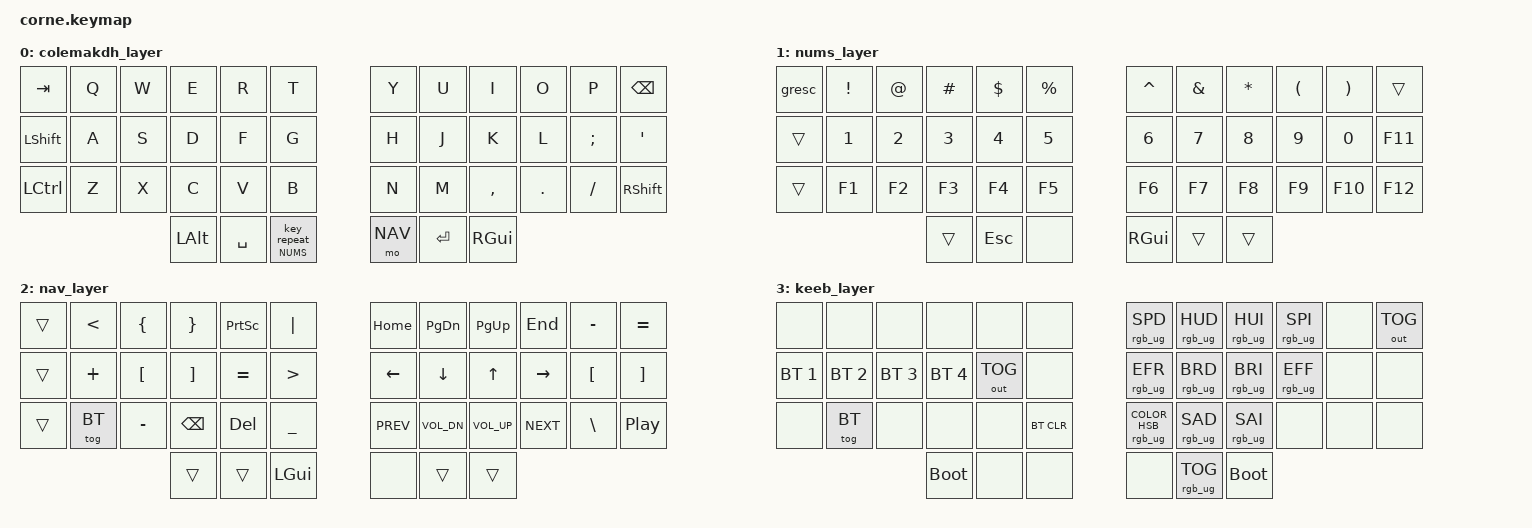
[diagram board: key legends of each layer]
/*
 * Copyright (c) 2020 The ZMK Contributors
 *
 * SPDX-License-Identifier: MIT
 */

#include <behaviors.dtsi>
#include <dt-bindings/zmk/keys.h>
#include <dt-bindings/zmk/bt.h>
#include <dt-bindings/zmk/rgb.h>
#include <dt-bindings/zmk/outputs.h>

// Layers
#define BASE 0
#define NUMS 1
#define NAV 2
#define BT 3

// TAP_DANCE settings
#define TAP_DANCE_MS 200
#define HOLD_TAP_MS 200
// This makes combos explicit, helps prevent rolling when typing normally
#define COMBO_TIMEOUT_MS 20
#define PRIOR_IDLE_MS 80

// MACROS to make the the code easier to read
// include name or reference in keymap
// Format:
//      name        reference             keys, key2
//
// Tap Dances
#define TD_SHLOCK   &shl               // RSHIFT CAPSLOCK

&led_strip {
    chain-length = <27>;
};

/ {
  behaviors{
    shl: tap_dance_shift_lock {
      compatible = "zmk,behavior-tap-dance";
      #binding-cells = <0>;
      tapping-term-ms = <TAP_DANCE_MS>;
      bindings = <&kp RSHIFT>, <&kp CAPSLOCK>;
    };

    hlkr: hold_layer_key_repeat {
      compatible = "zmk,behavior-hold-tap";
      #binding-cells = <2>;
      flavor = "hold-preferred";
      tapping-term-ms = <HOLD_TAP_MS>;
      require-prior-idle-ms = <PRIOR_IDLE_MS>;
      bindings = <&mo>, <&key_repeat>;
    };

    gresc: grave_escape {
      compatible = "zmk,behavior-mod-morph";
      #binding-cells = <0>;
      bindings = <&kp GRAVE>, <&kp ESC>;
      mods = <(MOD_RGUI|MOD_RSFT)>;
    };
  };

  macros {
    enter_esc: enter_esc {
      compatible = "zmk,behavior-macro";
      #binding-cells = <0>;
      // 30ms+ to avoid having HID notifications grouped at the BLE protocol level and being processed out of order.
      wait-ms = <40>;
      tap-ms = <40>;
      bindings = <&kp ENTER &kp ESC>;
    };
  };

  combos {
    compatible = "zmk,combos";

    // This is annoying for gaming so lets not use them lol
    // rs_enter {
    //   timeout-ms = <COMBO_TIMEOUT_MS>;
    //   key-positions = <14 15>; // R S
    //   bindings = <&kp ENTER>;
    //   require-prior-idle-ms = <PRIOR_IDLE_MS>;
    // };

    // st_esc {
    //   timeout-ms = <COMBO_TIMEOUT_MS>;
    //   key-positions = <15 16>; // S T
    //   bindings = <&kp ESC>;
    //   require-prior-idle-ms = <PRIOR_IDLE_MS>;
    // };

    fp_esc {
      timeout-ms = <COMBO_TIMEOUT_MS>;
      key-positions = <3 4>; // F P
      bindings = <&kp LG(P)>;
      require-prior-idle-ms = <PRIOR_IDLE_MS>;
    };

    ei_enter {
      timeout-ms = <COMBO_TIMEOUT_MS>;
      key-positions = <20 21>; // E I
      bindings = <&kp ENTER>;
      require-prior-idle-ms = <PRIOR_IDLE_MS>;
    };

    ne_esc {
      timeout-ms = <COMBO_TIMEOUT_MS>;
      key-positions = <19 20>; // N E
      bindings = <&kp ESC>;
      require-prior-idle-ms = <PRIOR_IDLE_MS>;
    };

    nei_enter_esc {
      timeout-ms = <COMBO_TIMEOUT_MS>;
      key-positions = <19 20 21>; // N E I
      bindings = <&enter_esc>;
      require-prior-idle-ms = <PRIOR_IDLE_MS>;
    };

    combo_menu {
      timeout-ms = <COMBO_TIMEOUT_MS>;
      key-positions = <32 33>; // COMMA DOT
      bindings = <&kp K_CMENU>;
      require-prior-idle-ms = <PRIOR_IDLE_MS>;
    };


    cd_paste {
      timeout-ms = <COMBO_TIMEOUT_MS>;
      key-positions = <27 28>;
      bindings = <&kp LS(LC(V))>;
    };
  };

  keymap {
    compatible = "zmk,keymap";

    // 0 - Base layer
    colemakdh_layer {
      bindings = <
        &kp TAB    &kp Q   &kp W  &kp E  &kp R     &kp T                                                     &kp Y      &kp U       &kp I      &kp O    &kp P     &kp BSPC
        &kp LSHFT  &kp A   &kp S  &kp D  &kp F     &kp G                                                     &kp H      &kp J       &kp K      &kp L    &kp SEMI  &kp SQT
        &kp LCTRL  &kp Z   &kp X  &kp C  &kp V     &kp B                                                     &kp N      &kp M       &kp COMMA  &kp DOT  &kp FSLH  &kp RSHFT
                                         &kp LALT  &kp SPACE &hlkr NUMS 0                           &mo NAV  &kp ENTER  &kp RGUI
      >;
    };

    // 1 - Numbers, symbols, F-keys
    nums_layer {
      bindings = <
        &gresc  &kp EXCL  &kp AT  &kp HASH  &kp DLLR  &kp PRCNT                                               &kp CARET  &kp AMPS  &kp STAR  &kp LPAR  &kp RPAR  &trans
        &trans  &kp N1    &kp N2  &kp N3    &kp N4    &kp N5                                                  &kp N6     &kp N7    &kp N8    &kp N9    &kp N0    &kp F11
        &trans  &kp F1    &kp F2  &kp F3    &kp F4    &kp F5                                                  &kp F6     &kp F7    &kp F8    &kp F9    &kp F10   &kp F12
                                            &trans    &kp ESC  &none                                &kp RGUI  &trans     &trans
      >;
    };

    // 2 - Navgation, Window Mgmt, Media
    nav_layer {
      bindings = <
        &trans  &kp LT    &kp LBRC   &kp RBRC  &kp PSCRN  &kp PIPE                                         &kp HOME    &kp PG_DN     &kp PG_UP     &kp END     &kp MINUS  &kp EQUAL
        &trans  &kp PLUS  &kp LBKT   &kp RBKT  &kp EQUAL  &kp GT                                           &kp LEFT    &kp DOWN      &kp UP        &kp RIGHT   &kp LBKT   &kp RBKT
        &trans  &tog BT   &kp MINUS  &kp BSPC  &kp DEL    &kp UNDER                                        &kp C_PREV  &kp C_VOL_DN  &kp C_VOL_UP  &kp C_NEXT  &kp BSLH   &kp C_PP
                                               &trans     &trans     &kp LGUI                       &none  &trans      &trans
      >;
    };

    // 3 - BT, Media, LEDs, Misc, and keyboard settings
    keeb_layer {
      bindings = <
        &none         &none         &none         &none         &none         &none                               &rgb_ug RGB_SPD                     &rgb_ug RGB_HUD  &rgb_ug RGB_HUI  &rgb_ug RGB_SPI  &none  &out OUT_TOG
        &bt BT_SEL 1  &bt BT_SEL 2  &bt BT_SEL 3  &bt BT_SEL 4  &out OUT_TOG  &none                               &rgb_ug RGB_EFR                     &rgb_ug RGB_BRD  &rgb_ug RGB_BRI  &rgb_ug RGB_EFF  &none  &none
        &none         &tog BT       &none         &none         &none         &bt BT_CLR                          &rgb_ug RGB_COLOR_HSB(360, 0, 100)  &rgb_ug RGB_SAD  &rgb_ug RGB_SAI  &none            &none  &none
                                                                &bootloader   &none  &none                 &none  &rgb_ug RGB_TOG  &bootloader
      >;
    };
  };
};
